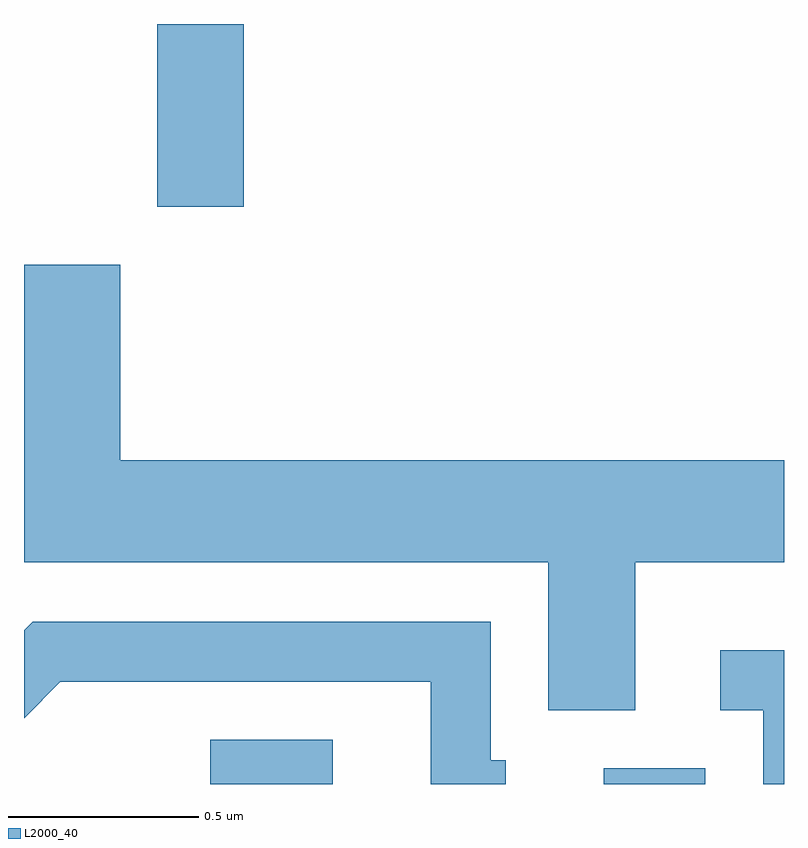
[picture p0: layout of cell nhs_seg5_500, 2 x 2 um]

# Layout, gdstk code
import gdstk
lib = gdstk.Library(unit=1e-6, precision=1e-09)
def R(c, l, rs):  # rectangles x0, y0, x1, y1
    for r in rs: c.add(gdstk.rectangle(r[:2], r[2:], *l))
def P(c, l, *ps):  # polygons
    for p in ps: c.add(gdstk.Polygon(p, *l))
L2000_40 = (2000, 40)

nhs_seg5_500 = lib.new_cell('nhs_seg5_500')
R(nhs_seg5_500, L2000_40, [(189.101,1485.072,189.423,1485.189), (190.136,1485.072,190.404,1485.114), (188.961,1486.591,189.189,1487.072)])
P(nhs_seg5_500, L2000_40, [(190.219,1485.656),(190.611,1485.656),(190.611,1485.924),(188.864,1485.924),(188.864,1486.439),(188.611,1486.439),(188.611,1485.656),(189.991,1485.656),(189.991,1485.266),(190.219,1485.266)],
  [(189.879,1485.134),(189.839,1485.134),(189.839,1485.499),(188.634,1485.499),(188.611,1485.476),(188.611,1485.245),(188.707,1485.341),(189.681,1485.341),(189.681,1485.072),(189.879,1485.072)],
  [(190.611,1485.424),(190.443,1485.424),(190.443,1485.266),(190.556,1485.266),(190.556,1485.072),(190.611,1485.072)])

lib.write_gds('nhs_seg5_500.gds')
